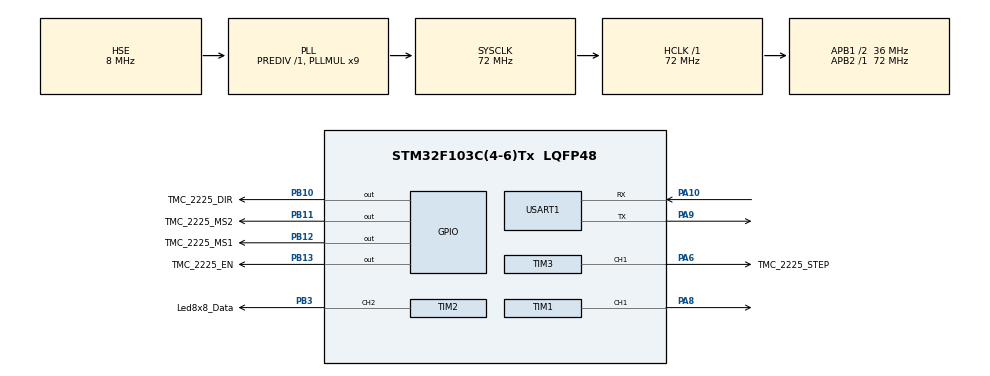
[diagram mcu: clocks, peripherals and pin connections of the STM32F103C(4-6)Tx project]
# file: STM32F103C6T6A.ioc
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Dma.Request0=USART1_TX
Dma.Request1=USART1_RX
Dma.Request2=TIM2_CH2/CH4
Dma.TIM2_CH2/CH4.2.Direction=DMA_MEMORY_TO_PERIPH
Dma.TIM2_CH2/CH4.2.Instance=DMA1_Channel7
Dma.TIM2_CH2/CH4.2.MemDataAlignment=DMA_MDATAALIGN_HALFWORD
Dma.TIM2_CH2/CH4.2.MemInc=DMA_MINC_ENABLE
Dma.TIM2_CH2/CH4.2.Mode=DMA_CIRCULAR
Dma.TIM2_CH2/CH4.2.PeriphDataAlignment=DMA_PDATAALIGN_HALFWORD
Dma.TIM2_CH2/CH4.2.PeriphInc=DMA_PINC_DISABLE
Dma.TIM2_CH2/CH4.2.Priority=DMA_PRIORITY_LOW
Dma.USART1_RX.1.Direction=DMA_PERIPH_TO_MEMORY
Dma.USART1_RX.1.Instance=DMA1_Channel5
Dma.USART1_RX.1.MemDataAlignment=DMA_MDATAALIGN_BYTE
Dma.USART1_RX.1.MemInc=DMA_MINC_ENABLE
Dma.USART1_RX.1.Mode=DMA_NORMAL
Dma.USART1_RX.1.PeriphDataAlignment=DMA_PDATAALIGN_BYTE
Dma.USART1_RX.1.PeriphInc=DMA_PINC_DISABLE
Dma.USART1_RX.1.Priority=DMA_PRIORITY_MEDIUM
Dma.USART1_TX.0.Direction=DMA_MEMORY_TO_PERIPH
Dma.USART1_TX.0.Instance=DMA1_Channel4
Dma.USART1_TX.0.MemDataAlignment=DMA_MDATAALIGN_BYTE
Dma.USART1_TX.0.MemInc=DMA_MINC_ENABLE
Dma.USART1_TX.0.Mode=DMA_NORMAL
Dma.USART1_TX.0.PeriphDataAlignment=DMA_PDATAALIGN_BYTE
Dma.USART1_TX.0.PeriphInc=DMA_PINC_DISABLE
Dma.USART1_TX.0.Priority=DMA_PRIORITY_MEDIUM
Mcu.Family=STM32F1
Mcu.Name=STM32F103C(4-6)Tx
Mcu.Package=LQFP48
NVIC.DMA1_Channel4_IRQn=true\:0\:0\:false\:false\:true\:false\:true\:true
NVIC.DMA1_Channel5_IRQn=true\:0\:0\:false\:false\:true\:false\:true\:true
NVIC.DMA1_Channel7_IRQn=true\:0\:0\:false\:false\:true\:false\:true\:true
NVIC.PriorityGroup=NVIC_PRIORITYGROUP_4
NVIC.TIM1_UP_IRQn=true\:0\:0\:false\:false\:true\:true\:true\:true
NVIC.TIM3_IRQn=true\:0\:0\:false\:false\:true\:true\:true\:true
NVIC.USART1_IRQn=true\:0\:0\:false\:false\:true\:true\:true\:true
PA10.Mode=Asynchronous
PA10.Signal=USART1_RX
PA13.Mode=Serial_Wire
PA13.Signal=SYS_JTMS-SWDIO
PA14.Mode=Serial_Wire
PA14.Signal=SYS_JTCK-SWCLK
PA6.GPIO_Label=TMC_2225_STEP
PA6.Signal=S_TIM3_CH1
PA8.Signal=S_TIM1_CH1
PA9.Mode=Asynchronous
PA9.Signal=USART1_TX
PB10.GPIO_Label=TMC_2225_DIR
PB10.GPIO_PuPd=GPIO_PULLDOWN
PB10.Signal=GPIO_Output
PB11.GPIO_Label=TMC_2225_MS2
PB11.GPIO_PuPd=GPIO_PULLDOWN
PB11.Signal=GPIO_Output
PB12.GPIO_Label=TMC_2225_MS1
PB12.GPIO_PuPd=GPIO_PULLDOWN
PB12.Signal=GPIO_Output
PB13.GPIO_Label=TMC_2225_EN
PB13.GPIO_PuPd=GPIO_PULLDOWN
PB13.Signal=GPIO_Output
PB3.GPIO_Label=Led8x8_Data
PB3.Signal=S_TIM2_CH2
PC14-OSC32_IN.Mode=LSE-External-Oscillator
PC14-OSC32_IN.Signal=RCC_OSC32_IN
PC15-OSC32_OUT.Mode=LSE-External-Oscillator
PC15-OSC32_OUT.Signal=RCC_OSC32_OUT
PD0-OSC_IN.Mode=HSE-External-Oscillator
PD0-OSC_IN.Signal=RCC_OSC_IN
PD1-OSC_OUT.Mode=HSE-External-Oscillator
PD1-OSC_OUT.Signal=RCC_OSC_OUT
ProjectManager.HeapSize=0x200
ProjectManager.StackSize=0x400
ProjectManager.TargetToolchain=MDK-ARM V5.32
RCC.AHBFreq_Value=72000000
RCC.APB1CLKDivider=RCC_HCLK_DIV2
RCC.APB1Freq_Value=36000000
RCC.APB1TimFreq_Value=72000000
RCC.APB2Freq_Value=72000000
RCC.APB2TimFreq_Value=72000000
RCC.HCLKFreq_Value=72000000
RCC.PLLMUL=RCC_PLL_MUL9
RCC.PLLSourceVirtual=RCC_PLLSOURCE_HSE
RCC.RTCClockSelection=RCC_RTCCLKSOURCE_LSE
RCC.SYSCLKFreq_VALUE=72000000
RCC.SYSCLKSource=RCC_SYSCLKSOURCE_PLLCLK
RCC.USBFreq_Value=72000000
SH.S_TIM1_CH1.0=TIM1_CH1,Output Compare1 CH1
SH.S_TIM2_CH2.0=TIM2_CH2,PWM Generation2 CH2
SH.S_TIM3_CH1.0=TIM3_CH1,PWM Generation1 CH1
TIM1.Channel-Output\ Compare1\ CH1=TIM_CHANNEL_1
TIM1.Period=100-1
TIM1.Prescaler=720-1
TIM2.Channel-PWM\ Generation2\ CH2=TIM_CHANNEL_2
TIM2.Period=90-1
TIM3.Channel-PWM\ Generation1\ CH1=TIM_CHANNEL_1
TIM3.Period=200-1
TIM3.Prescaler=720-1
TIM3.Pulse-PWM\ Generation1\ CH1=100-1
USART1.VirtualMode=VM_ASYNC
VP_RTC_No_RTC_Output.Mode=RTC_OUT_NO
VP_RTC_VS_RTC_Activate.Mode=RTC_Enabled
VP_TIM1_VS_ClockSourceINT.Mode=Internal
VP_TIM2_VS_ClockSourceINT.Mode=Internal
VP_TIM3_VS_ClockSourceINT.Mode=Internal
board=custom

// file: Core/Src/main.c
/* USER CODE BEGIN Header */
/**
 ******************************************************************************
 * @file           : main.c
 * @brief          : Main program body
 ******************************************************************************
 * @attention
 *
 * Copyright (c) 2022 STMicroelectronics.
 * All rights reserved.
 *
 * This software is licensed under terms that can be found in the LICENSE file
 * in the root directory of this software component.
 * If no LICENSE file comes with this software, it is provided AS-IS.
 *
 ******************************************************************************
 */
/* USER CODE END Header */
#include "main.h"
#include "dma.h"
#include "rtc.h"
#include "tim.h"
#include "usart.h"
#include "gpio.h"

/* USER CODE BEGIN Includes */
#include "stm32f1xx_it.h"
#include <stdio.h>
#include <string.h>
#include "TMC2225.h"
#include "WS2812B_PWM_DMA.h"
/* USER CODE END Includes */

/* USER CODE BEGIN PV */
char Uart1_Data_Check[2] = {0}; //串口数据接收检查位

unsigned char RTC_Data[5] = {0}; // RTC的数据

char WS2812B_ModeEnable_Flag = 0;
unsigned short WS2812B_ModeBrightnessData = 20;
unsigned short WS2812B_Mode1_HSV_HData = 0;
unsigned short WS2812B_Mode2_SingleRefresh = 0;
unsigned short WS2812B_Mode3_SingleRefresh = 0;

/* USER CODE END PV */

void SystemClock_Config(void);

int main(void)
{
    /* USER CODE BEGIN 1 */
    RTC_TimeTypeDef RTC_TimeStruct; //获取时间结构体
    /* USER CODE END 1 */

    /* MCU Configuration--------------------------------------------------------*/

    /* Reset of all peripherals, Initializes the Flash interface and the Systick. */
    HAL_Init();

    /* Configure the system clock */
    SystemClock_Config();

    /* Initialize all configured peripherals */
    MX_GPIO_Init();
    MX_DMA_Init();
    MX_USART1_UART_Init();
    MX_RTC_Init();
    MX_TIM1_Init();
    MX_TIM3_Init();
    MX_TIM2_Init();
    /* USER CODE BEGIN 2 */
    __HAL_UART_ENABLE_IT(&huart1, UART_IT_IDLE);                        //使能串口空闲IDLE中断实现自由数据长度接收
    HAL_UART_Receive_DMA(&huart1, Uart1_DataMax, Uart1_DataMax_Length); //每次需要进中断接收时候,都需要调用此函数

    __HAL_TIM_CLEAR_IT(&htim1, TIM_IT_UPDATE); //清除IT标志位
    HAL_TIM_Base_Start_IT(&htim1);             //启动时基

    /* USER CODE END 2 */

    /* Infinite loop */
    /* USER CODE BEGIN WHILE */
    while (1)
    {

        /*Usart_Receive------------------------------------------------------------------------------------------------*/
        if (Uart1_Rx_Flag == 1)
        {
            Uart1_Rx_Flag = 0; //清除接收结束标志位

            sprintf(&Uart1_Data_Check[0], "%c", Uart1_DataMax[0]);
            sprintf(&Uart1_Data_Check[1], "%c", Uart1_DataMax[1]);

            if (Uart1_Data_Check[0] == 'R' && Uart1_Data_Check[1] == 'M')
            {
                RTC_TimeStruct.Hours = Uart1_DataMax[2];
                RTC_TimeStruct.Minutes = Uart1_DataMax[3];
                RTC_TimeStruct.Seconds = Uart1_DataMax[4];

                HAL_RTC_SetTime(&hrtc, &RTC_TimeStruct, RTC_FORMAT_BIN);
                // printf("yes\n");
            }

            if (Uart1_Data_Check[0] == 'M' && Uart1_Data_Check[1] == 'F')
            {
                if (Uart1_DataMax[2] == '1')
                {
                    TMC2225_SetState(TMC2225_Motor_EN, TMC2225_Motor_Forward, 4, 0.1);
                }
                if (Uart1_DataMax[2] == '2')
                {
                    TMC2225_SetState(TMC2225_Motor_EN, TMC2225_Motor_Forward, 4, 0.5);
                }
                if (Uart1_DataMax[2] == '3')
                {
                    TMC2225_SetState(TMC2225_Motor_EN, TMC2225_Motor_Forward, 4, 1);
                }
            }

            if (Uart1_Data_Check[0] == 'L' && Uart1_Data_Check[1] == 'M')
            {
                if (Uart1_DataMax[2] == 0)
                {
                    WS2812B_ModeEnable_Flag = 0;
                    WS2812B_Mode1Count1_Flag = 0;
                    WS2812B_Mode2Count1_Flag = 0;
                    WS2812B_Mode3Count1_Flag = 0;
                    WS2812B_Mode2_SingleRefresh = 0;
                    WS2812B_Mode3_SingleRefresh = 0;
                    WS2812B_ClearAll();

                    WS2812B_ModeBrightnessData = 0;
                }
                if (Uart1_DataMax[2] == 1)
                {
                    WS2812B_ModeEnable_Flag = 1;
                    WS2812B_Mode1Count1_Flag = 0;
                    WS2812B_Mode2Count1_Flag = 0;
                    WS2812B_Mode3Count1_Flag = 0;
                    WS2812B_Mode2_SingleRefresh = 0;
                    WS2812B_Mode3_SingleRefresh = 0;
                    WS2812B_ClearAll();

                    if (Uart1_DataMax[3] == 'B')
                    {
                        WS2812B_ModeBrightnessData = Uart1_DataMax[4];
                    }
                    else
                    {
                        WS2812B_ModeBrightnessData = 20;
                    }
                }
                if (Uart1_DataMax[2] == 2)
                {
                    WS2812B_ModeEnable_Flag = 2;
                    WS2812B_Mode1Count1_Flag = 0;
                    WS2812B_Mode2Count1_Flag = 0;
                    WS2812B_Mode3Count1_Flag = 0;
                    WS2812B_Mode2_SingleRefresh = 0;
                    WS2812B_Mode3_SingleRefresh = 0;
                    WS2812B_ClearAll();

                    if (Uart1_DataMax[3] == 'B')
                    {
                        WS2812B_ModeBrightnessData = Uart1_DataMax[4];
                    }
                    else
                    {
                        WS2812B_ModeBrightnessData = 20;
                    }
                }
                if (Uart1_DataMax[2] == 3)
                {
                    WS2812B_ModeEnable_Flag = 3;
                    WS2812B_Mode1Count1_Flag = 0;
                    WS2812B_Mode2Count1_Flag = 0;
                    WS2812B_Mode3Count1_Flag = 0;
                    WS2812B_Mode2_SingleRefresh = 0;
                    WS2812B_Mode3_SingleRefresh = 0;
                    WS2812B_ClearAll();

                    if (Uart1_DataMax[3] == 'B')
                    {
                        WS2812B_ModeBrightnessData = Uart1_DataMax[4];
                    }
                    else
                    {
                        WS2812B_ModeBrightnessData = 20;
                    }
                }
            }
            // HAL_UART_Transmit_DMA(&huart1, Uart1_DataMax, Uart1_DataValid_Length); //串口回调

            Uart1_DataValid_Length = 0; //清除数据长度

            //每次接收替换上一次的数据不会造成数据堆积错误
            HAL_UART_Receive_DMA(&huart1, Uart1_DataMax, Uart1_DataMax_Length); //重新打开DMA接收
        }
        /*Usart_Receive------------------------------------------------------------------------------------------------*/

        /*RTC_ScheduledTransmission------------------------------------------------------------------------------------------------*/
        if (RTC_Flag == 1)
        {
            RTC_Flag = 0;

            HAL_RTC_GetTime(&hrtc, &RTC_TimeStruct, RTC_FORMAT_BIN); //获取时间

            RTC_Data[0] = 'R';
            RTC_Data[1] = '0';
            RTC_Data[2] = RTC_TimeStruct.Hours;
            RTC_Data[3] = RTC_TimeStruct.Minutes;
            RTC_Data[4] = RTC_TimeStruct.Seconds;

            // 数据转换,设计由ESP32进行时间数据转换故STM32这边注释
            // sprintf(RTC_Buffer, "%d", RTC_TimeStruct.Seconds);
            // for (unsigned char i = 1; i < 3; i++)
            // {
            //     RTC_Data[i] = RTC_Buffer[i - 1];
            // }
            // RTC_Data[0] = 'R';

            HAL_UART_Transmit_DMA(&huart1, RTC_Data, 5);

            // 串口打印测试
            // printf("%02d:%02d:%02d\r\n\r\n",RTC_Data[1],RTC_Data[2],RTC_Data[3]);
            // printf("%02d:%02d:%02d\r\n\r\n", RTC_TimeStruct.Hours, RTC_TimeStruct.Minutes, RTC_TimeStruct.Seconds);
        }

        /*RTC_ScheduledTransmission-----------------------------------------------------------------------------------------------*/

        /*TMC2225------------------------------------------------------------------------------------------------*/
        // 无
        /*TMC2225------------------------------------------------------------------------------------------------*/

        /*WS2812B------------------------------------------------------------------------------------------------*/

        // if (WS2812B_ModeEnable_Flag == 0) //清除灯模式标志位
        // {
        //     WS2812B_Mode1Count1_Flag = 0;
        //     WS2812B_Mode2Count1_Flag = 0;
        //     WS2812B_Mode3Count1_Flag = 0;
        //     WS2812B_Mode2_SingleRefresh = 0;
        //     WS2812B_Mode3_SingleRefresh = 0;
        // }

        if (WS2812B_ModeEnable_Flag == 1) //灯模式1使能标志位
        {
            WS2812B_SetSequentialHSV(WS2812B_Mode1_HSV_HData, 100, WS2812B_ModeBrightnessData, NUM_LEDS);
            if (WS2812B_Mode1Count1_Flag == 1)
            {
                WS2812B_Mode1Count1_Flag = 0;
                WS2812B_Mode1_HSV_HData++;
                if (WS2812B_Mode1_HSV_HData > 360)
                {
                    WS2812B_Mode1_HSV_HData = 0;
                }
            }

            WS2812B_Mode2_SingleRefresh = 0;
            WS2812B_Mode3_SingleRefresh = 0;
        }

        if (WS2812B_ModeEnable_Flag == 2) //灯模式2使能标志位
        {
            for (unsigned char i = WS2812B_Mode2_SingleRefresh; i < NUM_LEDS; i++)
            {
                WS2812B_SetHSV(i * 5.625f, 100, WS2812B_ModeBrightnessData, i);
                WS2812B_Show();
                WS2812B_Mode2_SingleRefresh++;
            }

            if (WS2812B_Mode2Count1_Flag == 1)
            {
                WS2812B_Mode2Count1_Flag = 0;

                // WS2812B_Shift1(Shift_Left, 1);
                WS2812B_Shift2(Shift_Right, 1);
                WS2812B_Show();
            }

            WS2812B_Mode3_SingleRefresh = 0;
        }

        if (WS2812B_ModeEnable_Flag == 3) //灯模式3使能标志位
        {
            for (unsigned char i = WS2812B_Mode3_SingleRefresh; i < NUM_LEDS; i++)
            {
                if (i == 0 || i == 25 || i == 35 || i == 45 || i == 55)
                {
                    for (unsigned char j = 0; j < 15; j++) //减小数字15可减少白灯数量
                    {
                        WS2812B_SetHSV(i * 5.625f, 0, 0, i++);
                        WS2812B_Show();
                        WS2812B_Mode3_SingleRefresh++;
                    }
                }
                WS2812B_SetHSV(i * 5.625f, 0, WS2812B_ModeBrightnessData, i);
                WS2812B_Show();
                WS2812B_Mode3_SingleRefresh++;
            }

            if (WS2812B_Mode3Count1_Flag == 1)
            {
                WS2812B_Mode3Count1_Flag = 0;

                // WS2812B_Shift1(Shift_Left, 1);
                WS2812B_Shift2(Shift_Right, 1);
                WS2812B_Show();
            }

            WS2812B_Mode2_SingleRefresh = 0;
        }

        /*WS2812B------------------------------------------------------------------------------------------------*/

        /* USER CODE END WHILE */

    }
}

void SystemClock_Config(void)
{
    RCC_OscInitTypeDef RCC_OscInitStruct = {0};
    RCC_ClkInitTypeDef RCC_ClkInitStruct = {0};
    RCC_PeriphCLKInitTypeDef PeriphClkInit = {0};

    /** Initializes the RCC Oscillators according to the specified parameters
     * in the RCC_OscInitTypeDef structure.
     */
    RCC_OscInitStruct.OscillatorType = RCC_OSCILLATORTYPE_HSE | RCC_OSCILLATORTYPE_LSE;
    RCC_OscInitStruct.HSEState = RCC_HSE_ON;
    RCC_OscInitStruct.HSEPredivValue = RCC_HSE_PREDIV_DIV1;
    RCC_OscInitStruct.LSEState = RCC_LSE_ON;
    RCC_OscInitStruct.HSIState = RCC_HSI_ON;
    RCC_OscInitStruct.PLL.PLLState = RCC_PLL_ON;
    RCC_OscInitStruct.PLL.PLLSource = RCC_PLLSOURCE_HSE;
    RCC_OscInitStruct.PLL.PLLMUL = RCC_PLL_MUL9;
    if (HAL_RCC_OscConfig(&RCC_OscInitStruct) != HAL_OK)
    {
        Error_Handler();
    }

    /** Initializes the CPU, AHB and APB buses clocks
     */
    RCC_ClkInitStruct.ClockType = RCC_CLOCKTYPE_HCLK | RCC_CLOCKTYPE_SYSCLK | RCC_CLOCKTYPE_PCLK1 | RCC_CLOCKTYPE_PCLK2;
    RCC_ClkInitStruct.SYSCLKSource = RCC_SYSCLKSOURCE_PLLCLK;
    RCC_ClkInitStruct.AHBCLKDivider = RCC_SYSCLK_DIV1;
    RCC_ClkInitStruct.APB1CLKDivider = RCC_HCLK_DIV2;
    RCC_ClkInitStruct.APB2CLKDivider = RCC_HCLK_DIV1;

    if (HAL_RCC_ClockConfig(&RCC_ClkInitStruct, FLASH_LATENCY_2) != HAL_OK)
    {
        Error_Handler();
    }
    PeriphClkInit.PeriphClockSelection = RCC_PERIPHCLK_RTC;
    PeriphClkInit.RTCClockSelection = RCC_RTCCLKSOURCE_LSE;
    if (HAL_RCCEx_PeriphCLKConfig(&PeriphClkInit) != HAL_OK)
    {
        Error_Handler();
    }
}

void Error_Handler(void)
{
    __disable_irq();
    while (1)
    {
    }
}
